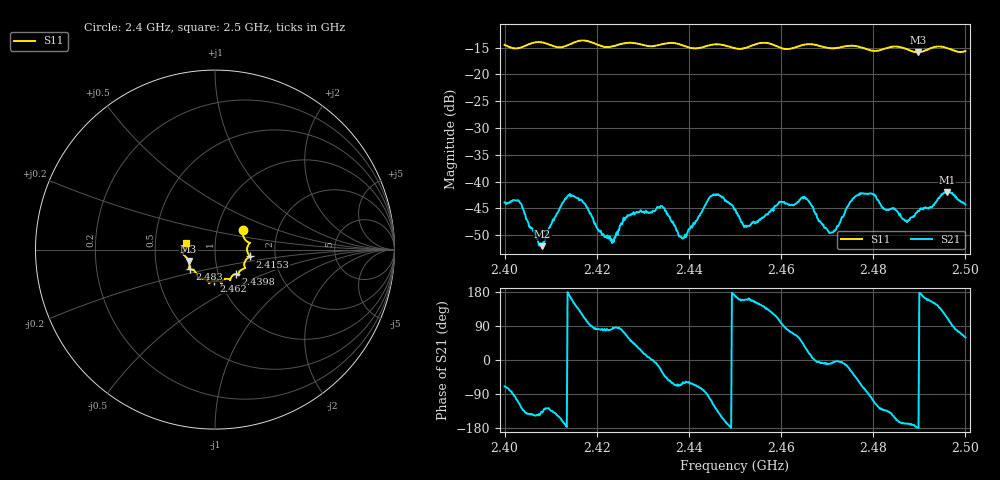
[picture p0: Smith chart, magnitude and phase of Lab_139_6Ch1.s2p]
# Hz S RI R 50
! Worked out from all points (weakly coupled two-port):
!   601 points, 2.4 GHz to 2.5 GHz, reference 50 ohm
!   highest |S21| = -41.94 dB at 2.496 GHz (marker M1); lowest = -52.0 dB at 2.4082 GHz (marker M2)
!   lowest |S11| = -15.9 dB at 2.4897 GHz (marker M3), VSWR 1.38, Z = 36.9 - j4.81 ohm
!   |S11| at or under -10 dB: start of sweep to end of sweep
!   S12 and S22 are empty: the file has one direction only
!   S11 on the Smith chart (normalised r, x): 2.4 GHz: 1.33, +0.29; 2.4153 GHz: 1.48, -0.12; 2.4398 GHz: 1.21, -0.34; 2.462 GHz: 0.93, -0.33; 2.483 GHz: 0.74, -0.17; 2.5 GHz: 0.72, +0.06
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2.4e9  0.155 0.1066  0.0022 -0.00601  0 0  0 0
2.403167e9  0.1669 0.0572  -0.00274 -0.00593  0 0  0 0
2.408167e9  0.1947 0.0374  -0.00188 -0.00166  0 0  0 0
2.413e9  0.1812 -0.0149  -0.00659 -0.00141  0 0  0 0
2.415333e9  0.1964 -0.0384  -0.00588 0.00406  0 0  0 0
2.416667e9  0.2023 -0.0425  -0.00367 0.00563  0 0  0 0
2.423167e9  0.1631 -0.0783  0.000485 0.00288  0 0  0 0
2.426667e9  0.168 -0.102  0.00236 0.00426  0 0  0 0
2.433333e9  0.1313 -0.1334  0.00556 -0.00149  0 0  0 0
2.439833e9  0.1153 -0.1365  0.0018 -0.00302  0 0  0 0
2.445e9  0.0846 -0.1686  -0.00257 -0.00696  0 0  0 0
2.45e9  0.0646 -0.1625  -0.00543 0.00104  0 0  0 0
2.4525e9  0.0409 -0.1728  -0.00353 0.00132  0 0  0 0
2.462e9  -0.00507 -0.1733  0.00165 0.00579  0 0  0 0
2.466667e9  -0.0342 -0.1876  0.00587 0.00079  0 0  0 0
2.470833e9  -0.0565 -0.1655  0.0033 -0.000503  0 0  0 0
2.477167e9  -0.0964 -0.1516  0.00375 -0.00685  0 0  0 0
2.483e9  -0.1375 -0.1096  -0.00378 -0.00393  0 0  0 0
2.483333e9  -0.14 -0.1094  -0.00394 -0.00374  0 0  0 0
2.489667e9  -0.1473 -0.0635  -0.00535 -0.000127  0 0  0 0
2.496e9  -0.1755 -0.015  -0.00301 0.0074  0 0  0 0
2.5e9  -0.1599 0.0391  0.0031 0.00528  0 0  0 0
